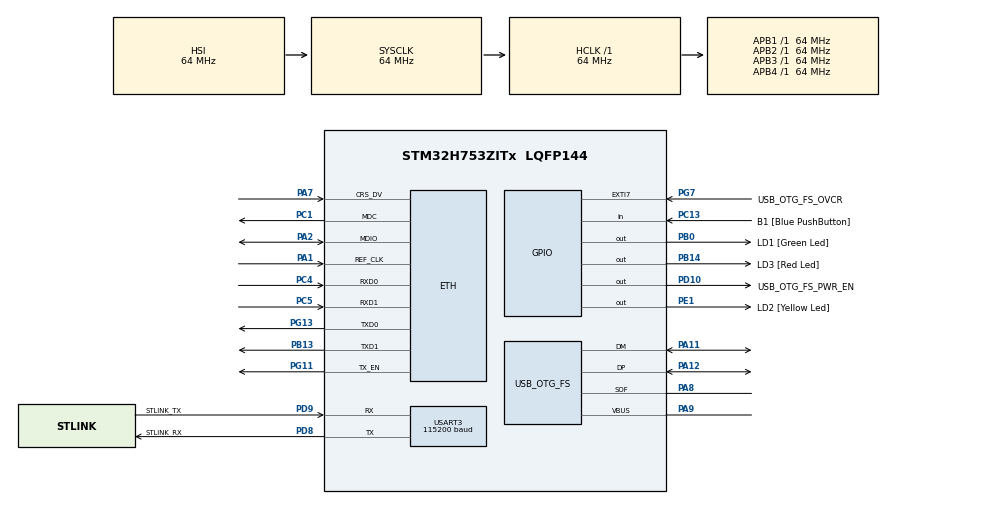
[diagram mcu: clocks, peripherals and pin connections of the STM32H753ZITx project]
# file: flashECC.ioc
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CORTEX_M7.CPU_DCache=Disabled
CORTEX_M7.CPU_ICache=Disabled
CORTEX_M7.MPU_Control=__NULL
ETH.ETH_RX_DESC_CNT=4
ETH.ETH_TX_DESC_CNT=4
ETH.MACAddr=00\:80\:E1\:00\:00\:00
ETH.MediaInterface=HAL_ETH_RMII_MODE
ETH.RxBuffAddress=0x30040200
ETH.RxBuffLen=1524
ETH.RxDescAddress=0x30040000
ETH.TxDescAddress=0x30040060
Mcu.Family=STM32H7
Mcu.Name=STM32H753ZITx
Mcu.Package=LQFP144
NVIC.FLASH_IRQn=true\:0\:0\:false\:false\:true\:true\:true\:true
NVIC.PriorityGroup=NVIC_PRIORITYGROUP_4
PA1.Mode=RMII
PA1.Signal=ETH_REF_CLK
PA11.Mode=Device_Only
PA11.Signal=USB_OTG_FS_DM
PA12.Mode=Device_Only
PA12.Signal=USB_OTG_FS_DP
PA2.Mode=RMII
PA2.Signal=ETH_MDIO
PA7.Mode=RMII
PA7.Signal=ETH_CRS_DV
PA8.Mode=Activate_SOF_FS
PA8.Signal=USB_OTG_FS_SOF
PA9.Mode=Activate_VBUS
PA9.Signal=USB_OTG_FS_VBUS
PB0.GPIO_Label=LD1 [Green Led]
PB0.Signal=GPIO_Output
PB13.Mode=RMII
PB13.Signal=ETH_TXD1
PB14.GPIO_Label=LD3 [Red Led]
PB14.Signal=GPIO_Output
PC1.Mode=RMII
PC1.Signal=ETH_MDC
PC13.GPIO_Label=B1 [Blue PushButton]
PC13.Signal=GPIO_Input
PC14-OSC32_IN\ (OSC32_IN).Mode=LSE-External-Oscillator
PC14-OSC32_IN\ (OSC32_IN).Signal=RCC_OSC32_IN
PC15-OSC32_OUT\ (OSC32_OUT).Mode=LSE-External-Oscillator
PC15-OSC32_OUT\ (OSC32_OUT).Signal=RCC_OSC32_OUT
PC4.Mode=RMII
PC4.Signal=ETH_RXD0
PC5.Mode=RMII
PC5.Signal=ETH_RXD1
PD10.GPIO_Label=USB_OTG_FS_PWR_EN
PD10.Signal=GPIO_Output
PD8.GPIO_Label=STLINK_RX
PD8.Mode=Asynchronous
PD8.Signal=USART3_TX
PD9.GPIO_Label=STLINK_TX
PD9.Mode=Asynchronous
PD9.Signal=USART3_RX
PE1.GPIO_Label=LD2 [Yellow Led]
PE1.Signal=GPIO_Output
PG11.Mode=RMII
PG11.Signal=ETH_TX_EN
PG13.Mode=RMII
PG13.Signal=ETH_TXD0
PG7.GPIO_Label=USB_OTG_FS_OVCR
PG7.Signal=GPXTI7
PH0-OSC_IN\ (PH0).Mode=HSE-External-Clock-Source
PH0-OSC_IN\ (PH0).Signal=RCC_OSC_IN
PH1-OSC_OUT\ (PH1).Signal=RCC_OSC_OUT
ProjectManager.HeapSize=0x200
ProjectManager.StackSize=0x400
ProjectManager.TargetToolchain=STM32CubeIDE
RCC.ADCFreq_Value=16125000
RCC.APB1Freq_Value=64000000
RCC.APB2Freq_Value=64000000
RCC.APB3Freq_Value=64000000
RCC.APB4Freq_Value=64000000
RCC.CortexFreq_Value=64000000
RCC.DIVM1=1
RCC.DIVN1=24
RCC.DIVQ1=4
RCC.HCLKFreq_Value=64000000
RCC.HSE_VALUE=8000000
RCC.PLLFRACN=0
RCC.PWR_Regulator_Voltage_Scale=PWR_REGULATOR_VOLTAGE_SCALE2
RCC.SYSCLKFreq_VALUE=64000000
RCC.USBFreq_Value=48000000
USART3.AutoBaudRateEnableParam=UART_ADVFEATURE_AUTOBAUDRATE_DISABLE
USART3.BaudRate=115200
USART3.ClockPrescaler=PRESCALER_DIV1
USART3.DMADisableonRxErrorParam=ADVFEATURE_DMA_ENABLEONRXERROR
USART3.DataInvertParam=ADVFEATURE_DATAINV_DISABLE
USART3.FIFOMode=FIFOMODE_DISABLE
USART3.MSBFirstParam=ADVFEATURE_MSBFIRST_DISABLE
USART3.Mode=MODE_TX_RX
USART3.OneBitSampling=UART_ONE_BIT_SAMPLE_DISABLE
USART3.OverSampling=UART_OVERSAMPLING_16
USART3.OverrunDisableParam=ADVFEATURE_OVERRUN_ENABLE
USART3.Parity=PARITY_NONE
USART3.RXFIFOThreshold=RXFIFO_THRESHOLD_1EIGHTHFULL
USART3.RxPinLevelInvertParam=ADVFEATURE_RXINV_DISABLE
USART3.StopBits=STOPBITS_1
USART3.SwapParam=ADVFEATURE_SWAP_DISABLE
USART3.TXFIFOThreshold=TXFIFO_THRESHOLD_1EIGHTHFULL
USART3.TxPinLevelInvertParam=ADVFEATURE_TXINV_DISABLE
USART3.VirtualMode-Asynchronous=VM_ASYNC
USART3.WordLength=WORDLENGTH_8B
USB_OTG_FS.Sof_enable=ENABLE
USB_OTG_FS.VirtualMode=Device_Only
USB_OTG_FS.battery_charging_enable=ENABLE
USB_OTG_FS.low_power_enable=DISABLE
USB_OTG_FS.lpm_enable=DISABLE
USB_OTG_FS.use_dedicated_ep1=DISABLE
USB_OTG_FS.vbus_sensing_enable=ENABLE
board=NUCLEO-H753ZI

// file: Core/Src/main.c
/* USER CODE BEGIN Header */
/**
  ******************************************************************************
  * @file           : main.c
  * @brief          : Main program body
  ******************************************************************************
  * @attention
  *
  * Copyright (c) 2024 STMicroelectronics.
  * All rights reserved.
  *
  * This software is licensed under terms that can be found in the LICENSE file
  * in the root directory of this software component.
  * If no LICENSE file comes with this software, it is provided AS-IS.
  *
  ******************************************************************************
  */
/* USER CODE END Header */
#include "main.h"
#include "string.h"

/* USER CODE BEGIN PD */
#define FLASH_USER_START_ADDR   ADDR_FLASH_SECTOR_2_BANK1      /* Start @ of user Flash area Bank1 */
#define FLASH_USER_END_ADDR     (ADDR_FLASH_SECTOR_7_BANK1 - 1)  /* End @ of user Flash area Bank1*/
/* USER CODE END PD */

#if defined ( __ICCARM__ ) /*!< IAR Compiler */
#pragma location=0x30040000
ETH_DMADescTypeDef  DMARxDscrTab[ETH_RX_DESC_CNT]; /* Ethernet Rx DMA Descriptors */
#pragma location=0x30040060
ETH_DMADescTypeDef  DMATxDscrTab[ETH_TX_DESC_CNT]; /* Ethernet Tx DMA Descriptors */

#elif defined ( __CC_ARM )  /* MDK ARM Compiler */

__attribute__((at(0x30040000))) ETH_DMADescTypeDef  DMARxDscrTab[ETH_RX_DESC_CNT]; /* Ethernet Rx DMA Descriptors */
__attribute__((at(0x30040060))) ETH_DMADescTypeDef  DMATxDscrTab[ETH_TX_DESC_CNT]; /* Ethernet Tx DMA Descriptors */

#elif defined ( __GNUC__ ) /* GNU Compiler */
ETH_DMADescTypeDef DMARxDscrTab[ETH_RX_DESC_CNT] __attribute__((section(".RxDecripSection"))); /* Ethernet Rx DMA Descriptors */
ETH_DMADescTypeDef DMATxDscrTab[ETH_TX_DESC_CNT] __attribute__((section(".TxDecripSection")));   /* Ethernet Tx DMA Descriptors */

#endif

ETH_TxPacketConfig TxConfig;

ETH_HandleTypeDef heth;

UART_HandleTypeDef huart3;

PCD_HandleTypeDef hpcd_USB_OTG_FS;

/* USER CODE BEGIN PV */
uint32_t FirstSector = 0, NbOfSectors = 0;
uint32_t Address = 0, SECTORError = 0, Index = 0;
__IO uint32_t MemoryProgramStatus = 0;
__IO uint64_t data64 = 0;

uint64_t SingleErrorA[4] = { 0xCCCCCCCCCCCCCCCC,
							 0xCCCCCCCCCCCCCCCC,
							 0xCCCCCCCCCCCCCCCC,
							 0xCCCCCCCCCCCCCCC0
						   };

uint64_t SingleErrorB[4] = { 0xCCCCCCCCCCCCCCCC,
						     0xCCCCCCCCCCCCCCCC,
							 0xCCCCCCCCCCCCCCCC,
							 0xCCCCCCCCCCCCCCC1
						   };

uint64_t DoubleErrorA[4] = { 0xCCCCCCCCCCCCCCCC,
							 0xCCCCCCCCCCCCCCCC,
							 0xCCCCCCCCCCCCCCCC,
							 0xCCCCCCCCCCCCCCCB
						   };

uint64_t DoubleErrorB[4] = { 0xCCCCCCCCCCCCCCCC,
							 0xCCCCCCCCCCCCCCCC,
							 0xCCCCCCCCCCCCCCCC,
							 0xCCCCCCCCCCCCCCCC
						   };
/* USER CODE END PV */

void SystemClock_Config(void);
static void MX_GPIO_Init(void);
static void MX_ETH_Init(void);
static void MX_USART3_UART_Init(void);
static void MX_USB_OTG_FS_PCD_Init(void);
/* USER CODE BEGIN PFP */
static uint32_t GetSector(uint32_t Address);
void cause_flash_single_error();
void cause_flash_double_error();
void init_flash_ecc();
void erase_user_flash();
/* USER CODE END PFP */

/* USER CODE BEGIN 0 */
void init_flash_ecc() {
	HAL_FLASH_Unlock();

	Address = FLASH_USER_START_ADDR;
	HAL_NVIC_SetPriority(FLASH_IRQn, 0, 0);
	HAL_NVIC_EnableIRQ(FLASH_IRQn);
	HAL_FLASHEx_EnableEccCorrectionInterrupt();
	HAL_FLASHEx_EnableEccDetectionInterrupt();

	HAL_FLASH_Lock();
}

void erase_user_flash() {
	HAL_FLASH_Unlock();

	/* Get the 1st sector to erase */
	FirstSector = GetSector(FLASH_USER_START_ADDR);
	/* Get the number of sector to erase from 1st sector*/
	NbOfSectors = GetSector(FLASH_USER_END_ADDR) - FirstSector + 1;

	static FLASH_EraseInitTypeDef EraseInitStruct;
	/* Fill EraseInit structure*/
	EraseInitStruct.TypeErase = FLASH_TYPEERASE_SECTORS;
	EraseInitStruct.VoltageRange = FLASH_VOLTAGE_RANGE_3;
	EraseInitStruct.Banks = FLASH_BANK_1;
	EraseInitStruct.Sector = FirstSector;
	EraseInitStruct.NbSectors = NbOfSectors;

	if (HAL_FLASHEx_Erase(&EraseInitStruct, &SECTORError) != HAL_OK) {
		Error_Handler();
	}

	HAL_FLASH_Lock();
}

void cause_flash_single_error() {
	HAL_FLASH_Unlock();

	if (HAL_FLASH_Program(FLASH_TYPEPROGRAM_FLASHWORD, Address, ((uint32_t) SingleErrorB)) != HAL_OK) {
		Error_Handler();
	}

	if (HAL_FLASH_Program(FLASH_TYPEPROGRAM_FLASHWORD, Address, ((uint32_t) SingleErrorA)) != HAL_OK) {
		Error_Handler();
	}

	uint64_t readData[4];
	for (int i = 0; i < 4; i++) {
		readData[i] = *((uint64_t*) (Address + i * 8)); // Read 64 bits at a time
	}

	HAL_FLASH_Lock();
}

void cause_flash_double_error() {
	HAL_FLASH_Unlock();

	if (HAL_FLASH_Program(FLASH_TYPEPROGRAM_FLASHWORD, Address, ((uint32_t) DoubleErrorB)) != HAL_OK) {
		Error_Handler();
	}

	if (HAL_FLASH_Program(FLASH_TYPEPROGRAM_FLASHWORD, Address, ((uint32_t) DoubleErrorA)) != HAL_OK) {
		Error_Handler();
	}

	uint64_t readData[4];
	for (int i = 0; i < 4; i++) {
		readData[i] = *((uint64_t*) (Address + i * 8)); // Read 64 bits at a time
	}

	HAL_FLASH_Lock();
}

void HAL_FLASHEx_EccCorrectionCallback() {
	HAL_GPIO_WritePin(LD2_GPIO_Port, LD2_Pin, 1);
}

void HAL_FLASHEx_EccDetectionCallback() {
	HAL_GPIO_WritePin(LD1_GPIO_Port, LD1_Pin, 1);
}

uint32_t GetSector(uint32_t Address) {
	uint32_t sector = 0;

	if (((Address < ADDR_FLASH_SECTOR_1_BANK1)
			&& (Address >= ADDR_FLASH_SECTOR_0_BANK1))
			|| ((Address < ADDR_FLASH_SECTOR_1_BANK2)
					&& (Address >= ADDR_FLASH_SECTOR_0_BANK2))) {
		sector = FLASH_SECTOR_0;
	} else if (((Address < ADDR_FLASH_SECTOR_2_BANK1)
			&& (Address >= ADDR_FLASH_SECTOR_1_BANK1))
			|| ((Address < ADDR_FLASH_SECTOR_2_BANK2)
					&& (Address >= ADDR_FLASH_SECTOR_1_BANK2))) {
		sector = FLASH_SECTOR_1;
	} else if (((Address < ADDR_FLASH_SECTOR_3_BANK1)
			&& (Address >= ADDR_FLASH_SECTOR_2_BANK1))
			|| ((Address < ADDR_FLASH_SECTOR_3_BANK2)
					&& (Address >= ADDR_FLASH_SECTOR_2_BANK2))) {
		sector = FLASH_SECTOR_2;
	} else if (((Address < ADDR_FLASH_SECTOR_4_BANK1)
			&& (Address >= ADDR_FLASH_SECTOR_3_BANK1))
			|| ((Address < ADDR_FLASH_SECTOR_4_BANK2)
					&& (Address >= ADDR_FLASH_SECTOR_3_BANK2))) {
		sector = FLASH_SECTOR_3;
	} else if (((Address < ADDR_FLASH_SECTOR_5_BANK1)
			&& (Address >= ADDR_FLASH_SECTOR_4_BANK1))
			|| ((Address < ADDR_FLASH_SECTOR_5_BANK2)
					&& (Address >= ADDR_FLASH_SECTOR_4_BANK2))) {
		sector = FLASH_SECTOR_4;
	} else if (((Address < ADDR_FLASH_SECTOR_6_BANK1)
			&& (Address >= ADDR_FLASH_SECTOR_5_BANK1))
			|| ((Address < ADDR_FLASH_SECTOR_6_BANK2)
					&& (Address >= ADDR_FLASH_SECTOR_5_BANK2))) {
		sector = FLASH_SECTOR_5;
	} else if (((Address < ADDR_FLASH_SECTOR_7_BANK1)
			&& (Address >= ADDR_FLASH_SECTOR_6_BANK1))
			|| ((Address < ADDR_FLASH_SECTOR_7_BANK2)
					&& (Address >= ADDR_FLASH_SECTOR_6_BANK2))) {
		sector = FLASH_SECTOR_6;
	} else if (((Address < ADDR_FLASH_SECTOR_0_BANK2)
			&& (Address >= ADDR_FLASH_SECTOR_7_BANK1))
			|| ((Address < FLASH_END_ADDR )
					&& (Address >= ADDR_FLASH_SECTOR_7_BANK2))) {
		sector = FLASH_SECTOR_7;
	} else {
		sector = FLASH_SECTOR_7;
	}

	return sector;
}
/* USER CODE END 0 */

int main(void)
{

  /* MCU Configuration--------------------------------------------------------*/

  /* Reset of all peripherals, Initializes the Flash interface and the Systick. */
  HAL_Init();

  /* Configure the system clock */
  SystemClock_Config();

  /* Initialize all configured peripherals */
  MX_GPIO_Init();
  MX_ETH_Init();
  MX_USART3_UART_Init();
  MX_USB_OTG_FS_PCD_Init();
  /* USER CODE BEGIN 2 */
  init_flash_ecc();
  erase_user_flash();

  cause_flash_double_error();
  /* USER CODE END 2 */

  /* Infinite loop */
  while (1)
  {

  }
}

void SystemClock_Config(void)
{
  RCC_OscInitTypeDef RCC_OscInitStruct = {0};
  RCC_ClkInitTypeDef RCC_ClkInitStruct = {0};

  /** Supply configuration update enable
  */
  HAL_PWREx_ConfigSupply(PWR_LDO_SUPPLY);

  /** Configure the main internal regulator output voltage
  */
  __HAL_PWR_VOLTAGESCALING_CONFIG(PWR_REGULATOR_VOLTAGE_SCALE2);

  while(!__HAL_PWR_GET_FLAG(PWR_FLAG_VOSRDY)) {}

  /** Initializes the RCC Oscillators according to the specified parameters
  * in the RCC_OscInitTypeDef structure.
  */
  RCC_OscInitStruct.OscillatorType = RCC_OSCILLATORTYPE_HSI|RCC_OSCILLATORTYPE_HSE;
  RCC_OscInitStruct.HSEState = RCC_HSE_BYPASS;
  RCC_OscInitStruct.HSIState = RCC_HSI_DIV1;
  RCC_OscInitStruct.HSICalibrationValue = RCC_HSICALIBRATION_DEFAULT;
  RCC_OscInitStruct.PLL.PLLState = RCC_PLL_ON;
  RCC_OscInitStruct.PLL.PLLSource = RCC_PLLSOURCE_HSE;
  RCC_OscInitStruct.PLL.PLLM = 1;
  RCC_OscInitStruct.PLL.PLLN = 24;
  RCC_OscInitStruct.PLL.PLLP = 2;
  RCC_OscInitStruct.PLL.PLLQ = 4;
  RCC_OscInitStruct.PLL.PLLR = 2;
  RCC_OscInitStruct.PLL.PLLRGE = RCC_PLL1VCIRANGE_3;
  RCC_OscInitStruct.PLL.PLLVCOSEL = RCC_PLL1VCOWIDE;
  RCC_OscInitStruct.PLL.PLLFRACN = 0;
  if (HAL_RCC_OscConfig(&RCC_OscInitStruct) != HAL_OK)
  {
    Error_Handler();
  }

  /** Initializes the CPU, AHB and APB buses clocks
  */
  RCC_ClkInitStruct.ClockType = RCC_CLOCKTYPE_HCLK|RCC_CLOCKTYPE_SYSCLK
                              |RCC_CLOCKTYPE_PCLK1|RCC_CLOCKTYPE_PCLK2
                              |RCC_CLOCKTYPE_D3PCLK1|RCC_CLOCKTYPE_D1PCLK1;
  RCC_ClkInitStruct.SYSCLKSource = RCC_SYSCLKSOURCE_HSI;
  RCC_ClkInitStruct.SYSCLKDivider = RCC_SYSCLK_DIV1;
  RCC_ClkInitStruct.AHBCLKDivider = RCC_HCLK_DIV1;
  RCC_ClkInitStruct.APB3CLKDivider = RCC_APB3_DIV1;
  RCC_ClkInitStruct.APB1CLKDivider = RCC_APB1_DIV1;
  RCC_ClkInitStruct.APB2CLKDivider = RCC_APB2_DIV1;
  RCC_ClkInitStruct.APB4CLKDivider = RCC_APB4_DIV1;

  if (HAL_RCC_ClockConfig(&RCC_ClkInitStruct, FLASH_LATENCY_1) != HAL_OK)
  {
    Error_Handler();
  }
}

static void MX_ETH_Init(void)
{

   static uint8_t MACAddr[6];

  heth.Instance = ETH;
  MACAddr[0] = 0x00;
  MACAddr[1] = 0x80;
  MACAddr[2] = 0xE1;
  MACAddr[3] = 0x00;
  MACAddr[4] = 0x00;
  MACAddr[5] = 0x00;
  heth.Init.MACAddr = &MACAddr[0];
  heth.Init.MediaInterface = HAL_ETH_RMII_MODE;
  heth.Init.TxDesc = DMATxDscrTab;
  heth.Init.RxDesc = DMARxDscrTab;
  heth.Init.RxBuffLen = 1524;

  if (HAL_ETH_Init(&heth) != HAL_OK)
  {
    Error_Handler();
  }

  memset(&TxConfig, 0 , sizeof(ETH_TxPacketConfig));
  TxConfig.Attributes = ETH_TX_PACKETS_FEATURES_CSUM | ETH_TX_PACKETS_FEATURES_CRCPAD;
  TxConfig.ChecksumCtrl = ETH_CHECKSUM_IPHDR_PAYLOAD_INSERT_PHDR_CALC;
  TxConfig.CRCPadCtrl = ETH_CRC_PAD_INSERT;

}

static void MX_USART3_UART_Init(void)
{

  huart3.Instance = USART3;
  huart3.Init.BaudRate = 115200;
  huart3.Init.WordLength = UART_WORDLENGTH_8B;
  huart3.Init.StopBits = UART_STOPBITS_1;
  huart3.Init.Parity = UART_PARITY_NONE;
  huart3.Init.Mode = UART_MODE_TX_RX;
  huart3.Init.HwFlowCtl = UART_HWCONTROL_NONE;
  huart3.Init.OverSampling = UART_OVERSAMPLING_16;
  huart3.Init.OneBitSampling = UART_ONE_BIT_SAMPLE_DISABLE;
  huart3.Init.ClockPrescaler = UART_PRESCALER_DIV1;
  huart3.AdvancedInit.AdvFeatureInit = UART_ADVFEATURE_NO_INIT;
  if (HAL_UART_Init(&huart3) != HAL_OK)
  {
    Error_Handler();
  }
  if (HAL_UARTEx_SetTxFifoThreshold(&huart3, UART_TXFIFO_THRESHOLD_1_8) != HAL_OK)
  {
    Error_Handler();
  }
  if (HAL_UARTEx_SetRxFifoThreshold(&huart3, UART_RXFIFO_THRESHOLD_1_8) != HAL_OK)
  {
    Error_Handler();
  }
  if (HAL_UARTEx_DisableFifoMode(&huart3) != HAL_OK)
  {
    Error_Handler();
  }

}

static void MX_USB_OTG_FS_PCD_Init(void)
{

  hpcd_USB_OTG_FS.Instance = USB_OTG_FS;
  hpcd_USB_OTG_FS.Init.dev_endpoints = 9;
  hpcd_USB_OTG_FS.Init.speed = PCD_SPEED_FULL;
  hpcd_USB_OTG_FS.Init.dma_enable = DISABLE;
  hpcd_USB_OTG_FS.Init.phy_itface = PCD_PHY_EMBEDDED;
  hpcd_USB_OTG_FS.Init.Sof_enable = ENABLE;
  hpcd_USB_OTG_FS.Init.low_power_enable = DISABLE;
  hpcd_USB_OTG_FS.Init.lpm_enable = DISABLE;
  hpcd_USB_OTG_FS.Init.battery_charging_enable = ENABLE;
  hpcd_USB_OTG_FS.Init.vbus_sensing_enable = ENABLE;
  hpcd_USB_OTG_FS.Init.use_dedicated_ep1 = DISABLE;
  if (HAL_PCD_Init(&hpcd_USB_OTG_FS) != HAL_OK)
  {
    Error_Handler();
  }

}

static void MX_GPIO_Init(void)
{
  GPIO_InitTypeDef GPIO_InitStruct = {0};

  /* GPIO Ports Clock Enable */
  __HAL_RCC_GPIOC_CLK_ENABLE();
  __HAL_RCC_GPIOH_CLK_ENABLE();
  __HAL_RCC_GPIOA_CLK_ENABLE();
  __HAL_RCC_GPIOB_CLK_ENABLE();
  __HAL_RCC_GPIOD_CLK_ENABLE();
  __HAL_RCC_GPIOG_CLK_ENABLE();
  __HAL_RCC_GPIOE_CLK_ENABLE();

  /*Configure GPIO pin Output Level */
  HAL_GPIO_WritePin(GPIOB, LD1_Pin|LD3_Pin, GPIO_PIN_RESET);

  /*Configure GPIO pin Output Level */
  HAL_GPIO_WritePin(USB_OTG_FS_PWR_EN_GPIO_Port, USB_OTG_FS_PWR_EN_Pin, GPIO_PIN_RESET);

  /*Configure GPIO pin Output Level */
  HAL_GPIO_WritePin(LD2_GPIO_Port, LD2_Pin, GPIO_PIN_RESET);

  /*Configure GPIO pin : B1_Pin */
  GPIO_InitStruct.Pin = B1_Pin;
  GPIO_InitStruct.Mode = GPIO_MODE_INPUT;
  GPIO_InitStruct.Pull = GPIO_NOPULL;
  HAL_GPIO_Init(B1_GPIO_Port, &GPIO_InitStruct);

  /*Configure GPIO pins : LD1_Pin LD3_Pin */
  GPIO_InitStruct.Pin = LD1_Pin|LD3_Pin;
  GPIO_InitStruct.Mode = GPIO_MODE_OUTPUT_PP;
  GPIO_InitStruct.Pull = GPIO_NOPULL;
  GPIO_InitStruct.Speed = GPIO_SPEED_FREQ_LOW;
  HAL_GPIO_Init(GPIOB, &GPIO_InitStruct);

  /*Configure GPIO pin : USB_OTG_FS_PWR_EN_Pin */
  GPIO_InitStruct.Pin = USB_OTG_FS_PWR_EN_Pin;
  GPIO_InitStruct.Mode = GPIO_MODE_OUTPUT_PP;
  GPIO_InitStruct.Pull = GPIO_NOPULL;
  GPIO_InitStruct.Speed = GPIO_SPEED_FREQ_LOW;
  HAL_GPIO_Init(USB_OTG_FS_PWR_EN_GPIO_Port, &GPIO_InitStruct);

  /*Configure GPIO pin : USB_OTG_FS_OVCR_Pin */
  GPIO_InitStruct.Pin = USB_OTG_FS_OVCR_Pin;
  GPIO_InitStruct.Mode = GPIO_MODE_IT_RISING;
  GPIO_InitStruct.Pull = GPIO_NOPULL;
  HAL_GPIO_Init(USB_OTG_FS_OVCR_GPIO_Port, &GPIO_InitStruct);

  /*Configure GPIO pin : LD2_Pin */
  GPIO_InitStruct.Pin = LD2_Pin;
  GPIO_InitStruct.Mode = GPIO_MODE_OUTPUT_PP;
  GPIO_InitStruct.Pull = GPIO_NOPULL;
  GPIO_InitStruct.Speed = GPIO_SPEED_FREQ_LOW;
  HAL_GPIO_Init(LD2_GPIO_Port, &GPIO_InitStruct);

}

void Error_Handler(void)
{
  __disable_irq();
  while (1)
  {
  }
}
